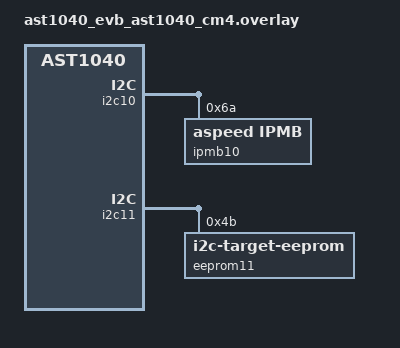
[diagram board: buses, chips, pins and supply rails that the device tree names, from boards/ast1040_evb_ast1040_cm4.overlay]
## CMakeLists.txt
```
# SPDX-License-Identifier: Apache-2.0

cmake_minimum_required(VERSION 3.20.0)

find_package(Zephyr REQUIRED HINTS $ENV{ZEPHYR_BASE})
project(i2c)

target_sources(app PRIVATE src/main.c)

target_include_directories(app PRIVATE ${CMAKE_CURRENT_SOURCE_DIR}/../common)
```

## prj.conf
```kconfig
CONFIG_ZTEST=y
CONFIG_I2C=y
CONFIG_I2C_ASPEED=y
CONFIG_I2C_TARGET=y
CONFIG_I2C_EEPROM_TARGET=y
CONFIG_I2C_IPMB_TARGET=y
CONFIG_TEST_RANDOM_GENERATOR=y
CONFIG_HWINFO=y

CONFIG_SHELL=y
CONFIG_I2C_SHELL=y
```

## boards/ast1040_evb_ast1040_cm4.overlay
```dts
/*
 * Copyright (c) 2026 Aspeed Technology Inc.
 *
 * SPDX-License-Identifier: Apache-2.0
 *
 * i2c4/i2c5 targets are defined by the board. Enable the conflict-free
 * i2c10/i2c11 loopback pair here; the other wired pairs conflict with the
 * board's PWM/TACH pinmux.
 */

&i2c10 {
	status = "okay";

	ipmb10: ipmb@6a {
		compatible = "aspeed,ipmb";
		reg = <0x6a>;
		size = <5>;
	};
};

&i2c11 {
	status = "okay";

	eeprom11: eeprom@4b {
		compatible = "zephyr,i2c-target-eeprom";
		reg = <0x4b>;
		size = <256>;
	};
};
```

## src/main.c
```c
/*
 * Copyright (c) 2026 Aspeed Technology Inc.
 *
 * SPDX-License-Identifier: Apache-2.0
 *
 * Tests EEPROM and IPMB target loopback on i2c4/i2c5 and i2c10/i2c11.
 * Every pair runs at standard, fast, and fast-plus speed.
 */

#include <string.h>

#include <zephyr/device.h>
#include <zephyr/drivers/i2c.h>
#include <zephyr/kernel.h>
#include <zephyr/drivers/i2c/target/eeprom.h>
#include <zephyr/drivers/i2c/target/ipmb.h>
#include <zephyr/random/random.h>
#include <zephyr/sys/util.h>
#include "ast_test.h"

#define TEST_DATA_SIZE 32
#define TRANSFER_RETRY_COUNT 5
#define IPMB_PREFIX_LEN 2
#define IPMB_TARGET_ADDED_LEN 1
#define IPMB_REQUEST_SIZE 6
#define IPMI_NETFN_APP_REQUEST 0x06
#define IPMB_RESPONDER_LUN 0
#define IPMB_REQUESTER_ADDR_7BIT 0x20
#define IPMB_REQUESTER_LUN 0
#define IPMI_GET_DEVICE_ID_CMD 0x01
#define IPMB_FIFO_RELEASE_COUNT 2

#define EEPROM_SIZE 256
#define EEPROM_WRAP_DATA_SIZE 16
#define EEPROM_WRAP_TAIL_SIZE 6
#define EEPROM_WRAP_HEAD_SIZE (EEPROM_WRAP_DATA_SIZE - EEPROM_WRAP_TAIL_SIZE)
#define EEPROM_WRAP_START_OFFSET (EEPROM_SIZE - EEPROM_WRAP_TAIL_SIZE)

struct i2c_test_speed {
	uint32_t value;
	const char *name;
};

static const struct i2c_test_speed i2c_speeds[] = {
	{I2C_SPEED_STANDARD, "standard"},
	{I2C_SPEED_FAST, "fast"},
	{I2C_SPEED_FAST_PLUS, "fast-plus"},
};

struct i2c_target_pair {
	const char *name;
	const struct device *controller;
	const struct device *target;
	uint16_t target_addr;
	size_t queue_capacity;
};

static const struct i2c_target_pair eeprom_pairs[] = {
	{
		.name = "i2c4->eeprom5",
		.controller = DEVICE_DT_GET(DT_NODELABEL(i2c4)),
		.target = DEVICE_DT_GET(DT_NODELABEL(eeprom5)),
		.target_addr = DT_REG_ADDR(DT_NODELABEL(eeprom5)),
	},
	{
		.name = "i2c10->eeprom11",
		.controller = DEVICE_DT_GET(DT_NODELABEL(i2c10)),
		.target = DEVICE_DT_GET(DT_NODELABEL(eeprom11)),
		.target_addr = DT_REG_ADDR(DT_NODELABEL(eeprom11)),
	},
};

static const struct i2c_target_pair ipmb_pairs[] = {
	{
		.name = "i2c5->ipmb4",
		.controller = DEVICE_DT_GET(DT_NODELABEL(i2c5)),
		.target = DEVICE_DT_GET(DT_NODELABEL(ipmb4)),
		.target_addr = DT_REG_ADDR(DT_NODELABEL(ipmb4)),
		.queue_capacity = DT_PROP(DT_NODELABEL(ipmb4), size),
	},
	{
		.name = "i2c11->ipmb10",
		.controller = DEVICE_DT_GET(DT_NODELABEL(i2c11)),
		.target = DEVICE_DT_GET(DT_NODELABEL(ipmb10)),
		.target_addr = DT_REG_ADDR(DT_NODELABEL(ipmb10)),
		.queue_capacity = DT_PROP(DT_NODELABEL(ipmb10), size),
	},
};

typedef void (*i2c_target_test_fn)(const struct i2c_target_pair *pair,
				   const struct i2c_test_speed *speed);

static int retry_i2c_write(const struct i2c_target_pair *pair, const uint8_t *buf, size_t len)
{
	int result;

	for (int attempt = 0; attempt < TRANSFER_RETRY_COUNT; attempt++) {
		result = i2c_write(pair->controller, buf, len, pair->target_addr);
		if (result != -ETIMEDOUT) {
			break;
		}
	}

	return result;
}

static int eeprom_write_bytes(const struct i2c_target_pair *pair, uint8_t offset,
			      const uint8_t *data, size_t len)
{
	int result;

	for (int attempt = 0; attempt < TRANSFER_RETRY_COUNT; attempt++) {
		result = 0;
		for (size_t i = 0; i < len; i++) {
			result = i2c_reg_write_byte(pair->controller, pair->target_addr, offset + i,
						    data[i]);
			if (result != 0) {
				break;
			}
		}
		if (result != -ETIMEDOUT) {
			break;
		}
	}

	return result;
}

static int eeprom_read_bytes(const struct i2c_target_pair *pair, uint8_t offset, uint8_t *data,
			     size_t len)
{
	int result;

	for (int attempt = 0; attempt < TRANSFER_RETRY_COUNT; attempt++) {
		result = 0;
		for (size_t i = 0; i < len; i++) {
			result = i2c_reg_read_byte(pair->controller, pair->target_addr, offset + i,
						   &data[i]);
			if (result != 0) {
				break;
			}
		}
		if (result != -ETIMEDOUT) {
			break;
		}
	}

	return result;
}

static int retry_ipmb_read(const struct device *target, struct ipmb_msg **msg, uint8_t *length)
{
	int result;

	for (int attempt = 0; attempt < TRANSFER_RETRY_COUNT; attempt++) {
		result = ipmb_target_read(target, msg, length);
		if (result == 0) {
			break;
		}
	}

	return result;
}

static uint8_t ipmb_checksum(const uint8_t *data, size_t len)
{
	uint8_t sum = 0;

	for (size_t i = 0; i < len; i++) {
		sum += data[i];
	}

	return (uint8_t)-sum;
}

static void build_ipmb_request(const struct i2c_target_pair *pair, size_t sequence,
			       uint8_t request[IPMB_REQUEST_SIZE])
{
	uint8_t header[] = {
		/* IPMB uses the 8-bit responder address in its header checksum. */
		(uint8_t)(pair->target_addr << 1),
		/* Application request NetFn in bits [7:2], responder LUN 0 in [1:0]. */
		(IPMI_NETFN_APP_REQUEST << 2) | IPMB_RESPONDER_LUN,
	};

	request[0] = header[1];
	request[1] = ipmb_checksum(header, ARRAY_SIZE(header));
	/* rqSA is the requester's 7-bit address shifted into IPMB's 8-bit form. */
	request[2] = IPMB_REQUESTER_ADDR_7BIT << 1;
	/* The upper six bits identify this request; the lower two select requester LUN 0. */
	request[3] = (uint8_t)(((sequence & 0x3f) << 2) | IPMB_REQUESTER_LUN);
	request[4] = IPMI_GET_DEVICE_ID_CMD;
	request[5] = ipmb_checksum(&request[2], 3);
}

static bool write_ipmb_sequence(const struct i2c_target_pair *pair,
				const struct i2c_test_speed *speed, size_t sequence)
{
	uint8_t request[IPMB_REQUEST_SIZE];
	int result;

	build_ipmb_request(pair, sequence, request);
	result = retry_i2c_write(pair, request, sizeof(request));

	return ast_zassert_ok(result, "%s sequence %zu write at %s failed: %d", pair->name,
			      sequence, speed->name, result);
}

static bool read_and_verify_ipmb_sequence(const struct i2c_target_pair *pair,
					  const struct i2c_test_speed *speed,
					  size_t expected_sequence)
{
	uint8_t expected[IPMB_REQUEST_SIZE];
	struct ipmb_msg *msg = NULL;
	uint8_t length = 0;
	uint8_t *buf;
	int result;

	result = retry_ipmb_read(pair->target, &msg, &length);
	if (!ast_zassert_ok(result, "%s sequence %zu read at %s failed: %d", pair->name,
			    expected_sequence, speed->name, result)) {
		return false;
	}
	if (!ast_zassert_not_null(msg, "%s sequence %zu returned NULL at %s", pair->name,
				  expected_sequence, speed->name)) {
		return false;
	}

	build_ipmb_request(pair, expected_sequence, expected);
	if (!ast_zassert_equal(length, sizeof(expected) + IPMB_TARGET_ADDED_LEN,
			       "%s sequence %zu length mismatch at %s: %d", pair->name,
			       expected_sequence, speed->name, length)) {
		return false;
	}

	buf = (uint8_t *)msg;
	if (!ast_zassert_equal(buf[0], pair->target_addr << 1,
			       "%s sequence %zu address mismatch at %s", pair->name,
			       expected_sequence, speed->name)) {
		return false;
	}

	return ast_zassert_mem_equal(expected, &buf[IPMB_TARGET_ADDED_LEN], sizeof(expected),
				     "%s expected sequence %zu at %s", pair->name,
				     expected_sequence, speed->name);
}

static void verify_ipmb_queue_empty(const struct i2c_target_pair *pair,
				    const struct i2c_test_speed *speed)
{
	struct ipmb_msg *msg = NULL;
	uint8_t length = 0;
	int result;

	result = ipmb_target_read(pair->target, &msg, &length);
	ast_zassert_not_equal(result, 0, "%s queue is not empty at %s", pair->name, speed->name);
}

static void test_eeprom(const struct i2c_target_pair *pair,
			const struct i2c_test_speed *speed)
{
	uint8_t data_s[TEST_DATA_SIZE];
	uint8_t data_r[TEST_DATA_SIZE];
	int result;

	sys_rand_get(data_s, sizeof(data_s));

	result = eeprom_write_bytes(pair, 0, data_s, sizeof(data_s));
	if (!ast_zassert_ok(result, "%s write at %s failed: %d", pair->name, speed->name,
			    result)) {
		return;
	}

	result = eeprom_read_bytes(pair, 0, data_r, sizeof(data_r));
	if (!ast_zassert_ok(result, "%s read at %s failed: %d", pair->name, speed->name,
			    result)) {
		return;
	}

	ast_zassert_mem_equal(data_s, data_r, sizeof(data_s), "%s R/W mismatch at %s", pair->name,
			       speed->name);
}

static void test_eeprom_wraparound(const struct i2c_target_pair *pair,
				   const struct i2c_test_speed *speed)
{
	uint8_t data_s[EEPROM_WRAP_DATA_SIZE];
	uint8_t data_r[MAX(EEPROM_WRAP_TAIL_SIZE, EEPROM_WRAP_HEAD_SIZE)];
	uint8_t write_buf[EEPROM_WRAP_DATA_SIZE + 1];
	int result;

	sys_rand_get(data_s, sizeof(data_s));
	/* An EEPROM write starts with the memory offset. Starting at 250 makes
	 * the 16-byte payload cross the 256-byte boundary.
	 */
	write_buf[0] = EEPROM_WRAP_START_OFFSET;
	memcpy(&write_buf[1], data_s, sizeof(data_s));

	/* One transaction is required to exercise target-side address wrapping. */
	result = retry_i2c_write(pair, write_buf, sizeof(write_buf));
	if (!ast_zassert_ok(result, "%s wrap write at %s failed: %d", pair->name, speed->name,
			    result)) {
		return;
	}

	result = eeprom_read_bytes(pair, EEPROM_WRAP_START_OFFSET, data_r,
				    EEPROM_WRAP_TAIL_SIZE);
	if (!ast_zassert_ok(result, "%s wrap tail read at %s failed: %d", pair->name,
			    speed->name, result)) {
		return;
	}
	ast_zassert_mem_equal(data_s, data_r, EEPROM_WRAP_TAIL_SIZE,
			       "%s wrap tail mismatch at %s", pair->name, speed->name);

	result = eeprom_read_bytes(pair, 0, data_r, EEPROM_WRAP_HEAD_SIZE);
	if (!ast_zassert_ok(result, "%s wrap head read at %s failed: %d", pair->name,
			    speed->name, result)) {
		return;
	}
	ast_zassert_mem_equal(&data_s[EEPROM_WRAP_TAIL_SIZE], data_r, EEPROM_WRAP_HEAD_SIZE,
			       "%s wrap head mismatch at %s", pair->name, speed->name);
}

static void test_ipmb(const struct i2c_target_pair *pair, const struct i2c_test_speed *speed)
{
	uint8_t data_s[TEST_DATA_SIZE];
	uint8_t write_buf[TEST_DATA_SIZE + 1];
	struct ipmb_msg *msg = NULL;
	uint8_t length = 0;
	uint8_t *buf;
	int result;

	sys_rand_get(data_s, sizeof(data_s));
	/* The target supplies rsSA at msg[0]. This byte sets netFn_rsLUN at
	 * msg[1] to zero, leaving the random test data to start at msg[2].
	 */
	write_buf[0] = 0;
	memcpy(&write_buf[1], data_s, sizeof(data_s));

	result = retry_i2c_write(pair, write_buf, sizeof(write_buf));
	if (!ast_zassert_ok(result, "%s write at %s failed: %d", pair->name, speed->name,
			    result)) {
		return;
	}

	/* An empty IPMB queue is reported as 1, so retry any nonzero result. */
	result = retry_ipmb_read(pair->target, &msg, &length);
	if (!ast_zassert_ok(result, "%s read at %s failed: %d", pair->name, speed->name,
			    result)) {
		return;
	}
	if (!ast_zassert_not_null(msg, "%s read at %s returned NULL", pair->name, speed->name)) {
		return;
	}

	/* The target adds its address at byte 0, and write_buf[0] becomes byte 1.
	 * The test payload therefore starts at byte 2.
	 */
	if (!ast_zassert_equal(length, TEST_DATA_SIZE + IPMB_PREFIX_LEN,
			       "%s length mismatch at %s: %d", pair->name, speed->name, length)) {
		return;
	}

	buf = (uint8_t *)msg;
	ast_zassert_equal(buf[0], pair->target_addr << 1, "%s device ID mismatch at %s: %d",
			  pair->name, speed->name, buf[0]);
	ast_zassert_mem_equal(data_s, &buf[IPMB_PREFIX_LEN], sizeof(data_s),
			       "%s R/W mismatch at %s", pair->name, speed->name);
}

static void test_ipmb_queue_full(const struct i2c_target_pair *pair,
				 const struct i2c_test_speed *speed)
{
	uint8_t request[IPMB_REQUEST_SIZE];

	for (size_t i = 0; i < pair->queue_capacity; i++) {
		if (!write_ipmb_sequence(pair, speed, i)) {
			return;
		}
	}

	/* ASPEED packet mode has already ACKed the transfer when the target callback
	 * rejects it, so queue contents rather than i2c_write() status prove rejection.
	 */
	build_ipmb_request(pair, pair->queue_capacity, request);
	(void)i2c_write(pair->controller, request, sizeof(request), pair->target_addr);

	for (size_t i = 0; i < pair->queue_capacity; i++) {
		if (!read_and_verify_ipmb_sequence(pair, speed, i)) {
			return;
		}
	}

	verify_ipmb_queue_empty(pair, speed);
}

static void test_ipmb_queue_fifo(const struct i2c_target_pair *pair,
				 const struct i2c_test_speed *speed)
{
	if (!ast_zassert_true(pair->queue_capacity >= IPMB_FIFO_RELEASE_COUNT,
			      "%s queue capacity is too small at %s", pair->name, speed->name)) {
		return;
	}

	/* Fill the queue with sequences 0 through 4 when its DTS size is five. */
	for (size_t sequence = 0; sequence < pair->queue_capacity; sequence++) {
		if (!write_ipmb_sequence(pair, speed, sequence)) {
			return;
		}
	}

	/* Remove the first two entries so their circular-buffer slots can be reused. */
	for (size_t sequence = 0; sequence < IPMB_FIFO_RELEASE_COUNT; sequence++) {
		if (!read_and_verify_ipmb_sequence(pair, speed, sequence)) {
			return;
		}
	}

	/* Append sequences 5 and 6 to the queue when its DTS size is five. */
	for (size_t sequence = pair->queue_capacity;
	     sequence < pair->queue_capacity + IPMB_FIFO_RELEASE_COUNT; sequence++) {
		if (!write_ipmb_sequence(pair, speed, sequence)) {
			return;
		}
	}

	/* Entries 2 through 6 must retain FIFO order across the slot wraparound. */
	for (size_t sequence = IPMB_FIFO_RELEASE_COUNT;
	     sequence < pair->queue_capacity + IPMB_FIFO_RELEASE_COUNT; sequence++) {
		if (!read_and_verify_ipmb_sequence(pair, speed, sequence)) {
			return;
		}
	}

	verify_ipmb_queue_empty(pair, speed);
}

static void run_i2c_target_tests(const char *test_name, const struct i2c_target_pair *pairs,
				 size_t pair_count, i2c_target_test_fn test_fn)
{
	for (size_t pair_idx = 0; pair_idx < pair_count; pair_idx++) {
		const struct i2c_target_pair *pair = &pairs[pair_idx];
		bool controller_ready;
		bool target_ready;

		controller_ready = ast_zassert_true(device_is_ready(pair->controller),
						    "%s controller not ready", pair->name);
		target_ready = ast_zassert_true(device_is_ready(pair->target),
						"%s target not ready", pair->name);
		if (!controller_ready || !target_ready) {
			continue;
		}

		for (size_t speed_idx = 0; speed_idx < ARRAY_SIZE(i2c_speeds); speed_idx++) {
			const struct i2c_test_speed *speed = &i2c_speeds[speed_idx];
			int result;

			result = i2c_configure(pair->controller, I2C_MODE_CONTROLLER |
							 I2C_SPEED_SET(speed->value));
			if (!ast_zassert_ok(result, "%s %s configure at %s failed: %d", test_name,
					    pair->name, speed->name, result)) {
				continue;
			}

			result = i2c_target_driver_register(pair->target);
			if (!ast_zassert_ok(result, "%s %s register at %s failed: %d", test_name,
					    pair->name, speed->name, result)) {
				continue;
			}

			test_fn(pair, speed);

			result = i2c_target_driver_unregister(pair->target);
			ast_zassert_ok(result, "%s %s unregister at %s failed: %d", test_name,
				       pair->name, speed->name, result);
		}
	}
}

int test_i2c(void)
{
	run_i2c_target_tests("eeprom", eeprom_pairs, ARRAY_SIZE(eeprom_pairs), test_eeprom);
	run_i2c_target_tests("eeprom-wrap", eeprom_pairs, ARRAY_SIZE(eeprom_pairs),
			     test_eeprom_wraparound);
	run_i2c_target_tests("ipmb", ipmb_pairs, ARRAY_SIZE(ipmb_pairs), test_ipmb);
	run_i2c_target_tests("ipmb-queue-full", ipmb_pairs, ARRAY_SIZE(ipmb_pairs),
			     test_ipmb_queue_full);
	run_i2c_target_tests("ipmb-queue-fifo", ipmb_pairs, ARRAY_SIZE(ipmb_pairs),
			     test_ipmb_queue_fifo);

	return ast_ztest_result();
}

#if !defined(AST1040_CONCURRENT_ALL)
ZTEST(i2c, test_i2c_all)
{
	zassert_equal(test_i2c(), AST_TEST_PASS, "i2c test failed");
}

ZTEST_SUITE(i2c, NULL, NULL, NULL, NULL, NULL);
#endif
```
